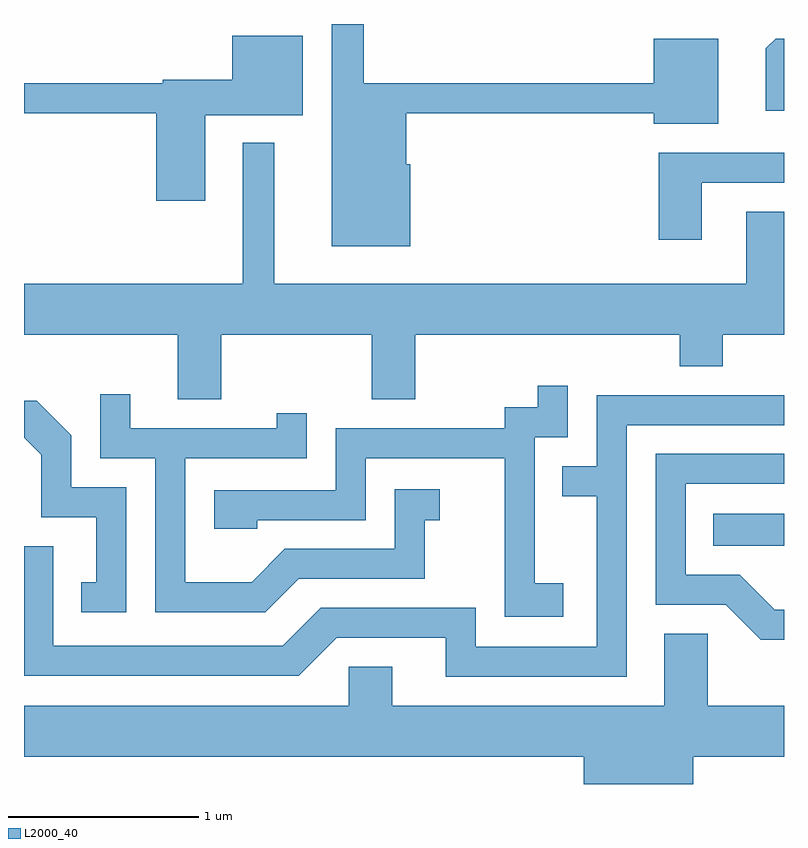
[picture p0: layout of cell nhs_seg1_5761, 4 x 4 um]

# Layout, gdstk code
import gdstk
lib = gdstk.Library(unit=1e-6, precision=1e-09)
def R(c, l, rs):  # rectangles x0, y0, x1, y1
    for r in rs: c.add(gdstk.rectangle(r[:2], r[2:], *l))
def P(c, l, *ps):  # polygons
    for p in ps: c.add(gdstk.Polygon(p, *l))
L2000_40 = (2000, 40)

nhs_seg1_5761 = lib.new_cell('nhs_seg1_5761')
R(nhs_seg1_5761, L2000_40, [(363.238,842.966,363.611,843.134)])
P(nhs_seg1_5761, L2000_40, [(361.644,844.974),(361.624,844.974),(361.624,845.241),(362.926,845.241),(362.926,845.186),(363.264,845.186),(363.264,845.634),(362.926,845.634),(362.926,845.399),(361.399,845.399),(361.399,845.712),(361.231,845.712),(361.231,844.541),(361.644,844.541)],
  [(360.564,845.231),(361.079,845.231),(361.079,845.649),(360.706,845.649),(360.706,845.419),(360.341,845.419),(360.341,845.399),(359.611,845.399),(359.611,845.241),(360.306,845.241),(360.306,844.781),(360.564,844.781)],
  [(363.611,845.634),(363.567,845.634),(363.516,845.584),(363.516,845.256),(363.611,845.256)],
  [(360.649,844.076),(361.441,844.076),(361.441,843.736),(361.669,843.736),(361.669,844.076),(363.061,844.076),(363.061,843.911),(363.289,843.911),(363.289,844.076),(363.611,844.076),(363.611,844.724),(363.411,844.724),(363.411,844.344),(360.929,844.344),(360.929,845.088),(360.761,845.088),(360.761,844.344),(359.611,844.344),(359.611,844.076),(360.421,844.076),(360.421,843.736),(360.649,843.736)],
  [(363.179,844.876),(363.611,844.876),(363.611,845.034),(362.951,845.034),(362.951,844.576),(363.179,844.576)],
  [(362.449,842.769),(362.299,842.769),(362.299,843.536),(362.474,843.536),(362.474,843.808),(362.316,843.808),(362.316,843.694),(362.141,843.694),(362.141,843.584),(361.251,843.584),(361.251,843.259),(360.611,843.259),(360.611,843.056),(360.839,843.056),(360.839,843.101),(361.409,843.101),(361.409,843.426),(362.141,843.426),(362.141,842.591),(362.449,842.591)],
  [(361.057,842.791),(361.719,842.791),(361.719,843.101),(361.798,843.101),(361.798,843.264),(361.561,843.264),(361.561,842.949),(360.984,842.949),(360.809,842.774),(360.459,842.774),(360.459,843.426),(361.099,843.426),(361.099,843.663),(360.941,843.663),(360.941,843.584),(360.169,843.584),(360.169,843.763),(360.011,843.763),(360.011,843.426),(360.301,843.426),(360.301,842.616),(360.882,842.616)],
  [(362.784,843.601),(363.611,843.601),(363.611,843.759),(362.626,843.759),(362.626,843.384),(362.443,843.384),(362.443,843.226),(362.626,843.226),(362.626,842.434),(361.989,842.434),(361.989,842.639),(361.174,842.639),(360.974,842.439),(359.764,842.439),(359.764,842.964),(359.611,842.964),(359.611,842.281),(361.057,842.281),(361.257,842.481),(361.831,842.481),(361.831,842.276),(362.784,842.276)],
  [(360.149,843.274),(359.859,843.274),(359.859,843.547),(359.677,843.729),(359.611,843.729),(359.611,843.534),(359.701,843.444),(359.701,843.116),(359.991,843.116),(359.991,842.774),(359.913,842.774),(359.913,842.616),(360.149,842.616)],
  [(363.611,842.629),(363.562,842.629),(363.377,842.814),(363.094,842.814),(363.094,843.291),(363.611,843.291),(363.611,843.449),(362.936,843.449),(362.936,842.656),(363.304,842.656),(363.489,842.471),(363.611,842.471)],
  [(363.134,841.856),(363.611,841.856),(363.611,842.124),(363.209,842.124),(363.209,842.504),(362.981,842.504),(362.981,842.124),(361.549,842.124),(361.549,842.329),(361.321,842.329),(361.321,842.124),(359.611,842.124),(359.611,841.856),(362.556,841.856),(362.556,841.712),(363.134,841.712)])

lib.write_gds('nhs_seg1_5761.gds')
